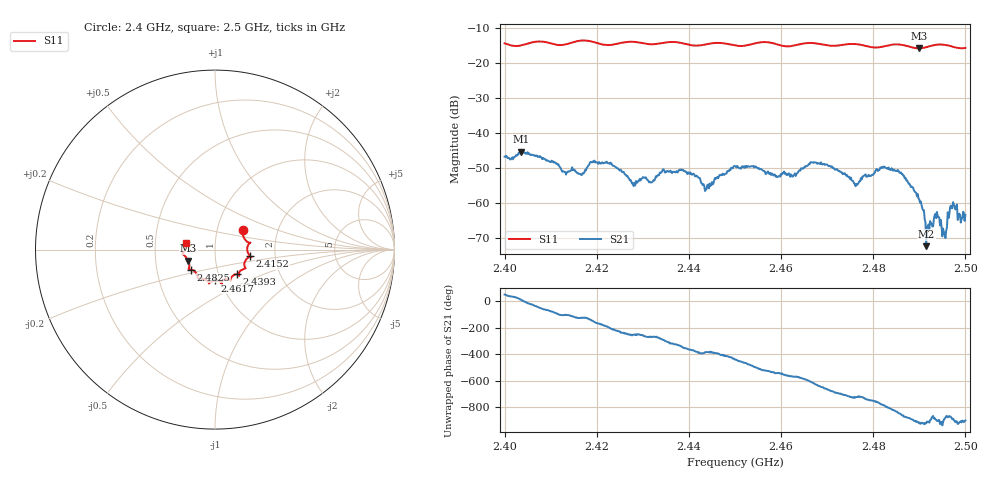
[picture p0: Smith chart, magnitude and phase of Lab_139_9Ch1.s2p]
# Hz S RI R 50
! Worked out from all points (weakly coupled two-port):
!   601 points, 2.4 GHz to 2.5 GHz, reference 50 ohm
!   highest |S21| = -45.34 dB at 2.4035 GHz (marker M1); lowest = -72.3 dB at 2.4915 GHz (marker M2)
!   lowest |S11| = -15.9 dB at 2.49 GHz (marker M3), VSWR 1.38, Z = 36.8 - j4.71 ohm
!   |S11| at or under -10 dB: start of sweep to end of sweep
!   S12 and S22 are empty: the file has one direction only
!   S11 on the Smith chart (normalised r, x): 2.4 GHz: 1.33, +0.30; 2.4152 GHz: 1.48, -0.11; 2.4393 GHz: 1.23, -0.35; 2.4617 GHz: 0.94, -0.33; 2.4825 GHz: 0.75, -0.17; 2.5 GHz: 0.72, +0.05
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2.4e9  0.1552 0.1093  0.00285 0.0036  0 0  0 0
2.4035e9  0.1684 0.0547  0.00526 0.00126  0 0  0 0
2.415167e9  0.1959 -0.0367  -0.00146 -0.00262  0 0  0 0
2.416667e9  0.2039 -0.042  -0.00138 -0.00209  0 0  0 0
2.419167e9  0.1953 -0.0406  -0.00332 -0.00212  0 0  0 0
2.428e9  0.1698 -0.1042  -0.000582 0.00165  0 0  0 0
2.433333e9  0.1326 -0.133  0.000189 0.00249  0 0  0 0
2.439333e9  0.1238 -0.1379  0.0028 0.000294  0 0  0 0
2.443833e9  0.0872 -0.1629  0.00147 -0.000633  0 0  0 0
2.45e9  0.0668 -0.1643  0.000602 -0.0033  0 0  0 0
2.461667e9  0.00112 -0.172  -0.00247 0.000985  0 0  0 0
2.466667e9  -0.0336 -0.1891  -0.0013 0.00356  0 0  0 0
2.476333e9  -0.0943 -0.1591  0.00188 -8.86e-05  0 0  0 0
2.4825e9  -0.1325 -0.1113  0.00128 -0.00302  0 0  0 0
2.483333e9  -0.1399 -0.1104  0.000433 -0.0032  0 0  0 0
2.4865e9  -0.1457 -0.1044  -0.00189 -0.00159  0 0  0 0
2.49e9  -0.1486 -0.0623  -0.0011 0.000258  0 0  0 0
2.4915e9  -0.162 -0.0416  -0.000229 8.14e-05  0 0  0 0
2.493833e9  -0.1802 -0.0243  -0.00075 2.02e-05  0 0  0 0
2.4955e9  -0.1798 -0.0192  -0.000369 -9.2e-05  0 0  0 0
2.497167e9  -0.1705 -0.00821  -0.000828 -0.00016  0 0  0 0
2.5e9  -0.1597 0.0353  -0.00068 -1.26e-05  0 0  0 0
